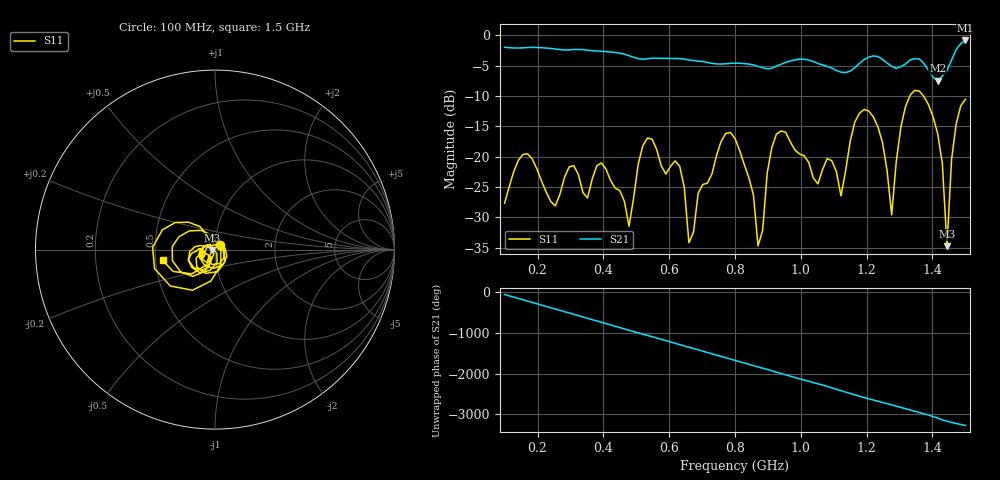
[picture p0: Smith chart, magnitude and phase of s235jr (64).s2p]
! NanoVNA-App
! Date: 2025-09-26 09:45:17
! Start: 100MHz Stop: 1,5GHz Points: 101
! S-Parameter data: F S11 S21 S12 S22
# Hz S RI R 50
!  Frequency  S11_Real  S11_Imag  S21_Real  S21_Imag  S12_Real  S12_Imag  S22_Real  S22_Imag
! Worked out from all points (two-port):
!   101 points, 100 MHz to 1.5 GHz, reference 50 ohm
!   highest |S21| = -0.83 dB at 1.5 GHz (marker M1); lowest = -7.5 dB at 1.416 GHz (marker M2)
!   |S21| within 3 dB of the highest: start of sweep to 507 MHz; 536.5 MHz to 633.2 MHz (96.64 MHz wide, 16.5 % of centre) (the widest 2 of 4)
!   lowest |S11| = -34.7 dB at 1.444 GHz (marker M3), VSWR 1.04, Z = 48.2 - j0.15 ohm
!   |S11| at or under -10 dB: start of sweep to 1.331 GHz; 1.373 GHz to end of sweep
!   S12 and S22 are empty: the file has one direction only
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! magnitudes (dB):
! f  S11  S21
! 100 MHz  -27.6  -2.0
! 156 MHz  -19.6  -2.1
! 338 MHz  -25.9  -2.3
! 394 MHz  -21.0  -2.6
! 478 MHz  -31.4  -3.3
! 520 MHz  -18.2  -3.9
! 576 MHz  -21.5  -3.8
! 632 MHz  -21.6  -3.8
! 660 MHz  -34.2  -4.1
! 800 MHz  -17.0  -4.6
! 870 MHz  -34.7  -5.1
! 926 MHz  -16.3  -5.0
! 1.038 GHz  -23.5  -4.3
! 1.122 GHz  -26.5  -6.1
! 1.164 GHz  -14.3  -5.3
! 1.206 GHz  -12.4  -3.6
! 1.276 GHz  -29.6  -5.1
! 1.332 GHz  -9.9  -4.0
! 1.416 GHz  -16.2  -7.5
! 1.444 GHz  -34.7  -5.8
! 1.458 GHz  -20.4  -4.1
! 1.5 GHz  -10.5  -0.8
